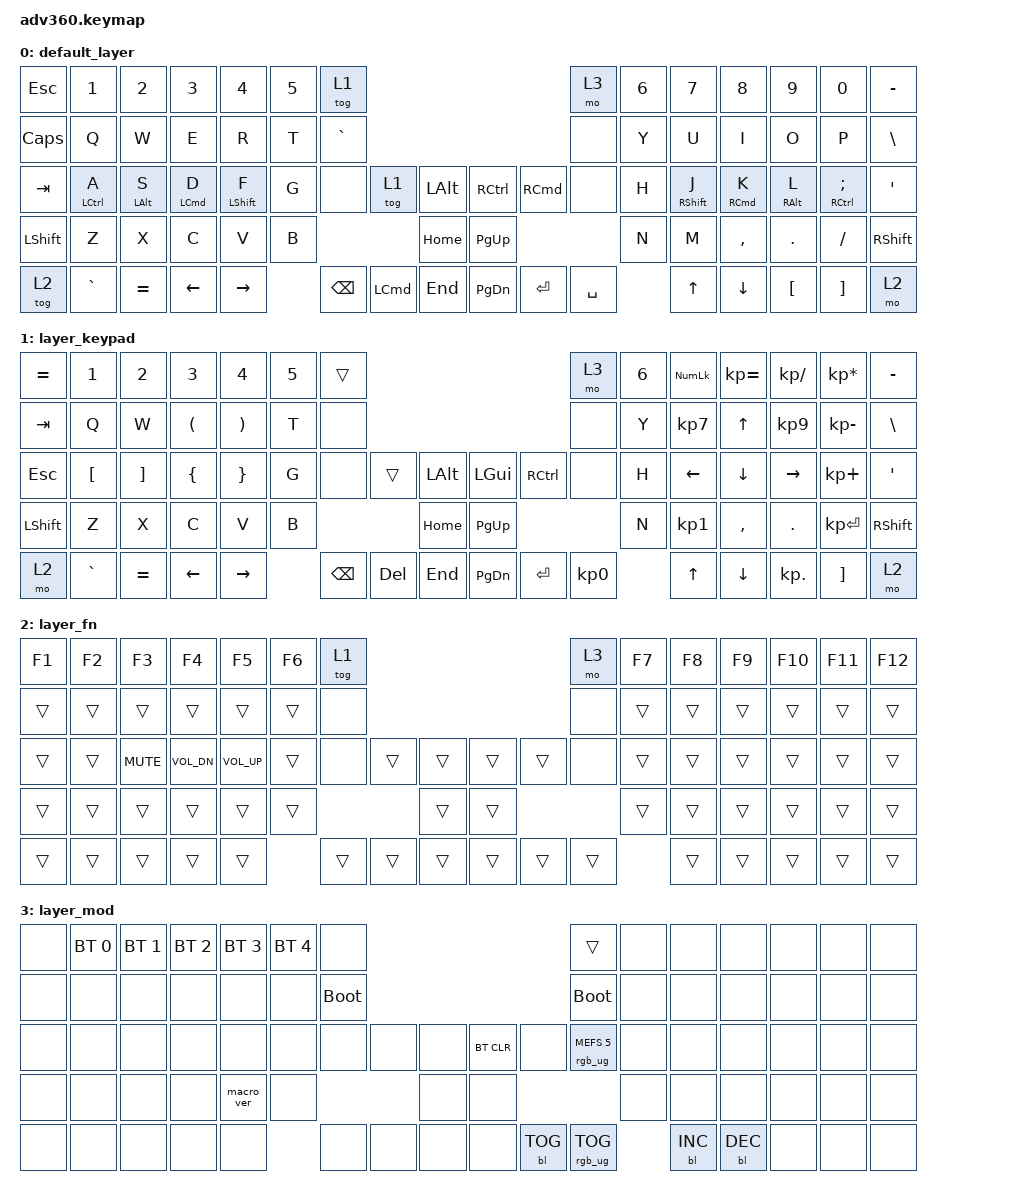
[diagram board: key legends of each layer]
/*
 * Copyright (c) 2020 The ZMK Contributors
 *
 * SPDX-License-Identifier: MIT
 */
/* THIS FILE WAS GENERATED!
 *
 * This file was generated automatically. You may or may not want to
 * edit it directly.
 */

#include <behaviors.dtsi>
#include <dt-bindings/zmk/backlight.h>
#include <dt-bindings/zmk/bt.h>
#include <dt-bindings/zmk/keys.h>
#include <dt-bindings/zmk/rgb.h>

/ {
    behaviors {
        #include "macros.dtsi"
    #include "version.dtsi"

        hm: homerow_mods {
            compatible = "zmk,behavior-hold-tap";
            label = "HOMEROW_MODS";
            #binding-cells = <2>;
            tapping-term-ms = <250>;
            quick_tap_ms = <175>;
            flavor = "tap-preferred";
            bindings = <&kp>, <&kp>;
        };
    };

    keymap {
        compatible = "zmk,keymap";

        default_layer {
            bindings = <
&kp ESCAPE    &kp N1       &kp N2      &kp N3      &kp N4            &kp N5  &tog 1                                                                   &mo 3      &kp N6  &kp N7             &kp N8      &kp N9      &kp N0               &kp MINUS
&kp CAPSLOCK  &kp Q        &kp W       &kp E       &kp R             &kp T   &kp GRAVE                                                                &none      &kp Y   &kp U              &kp I       &kp O       &kp P                &kp BSLH
&kp TAB       &hm LCTRL A  &hm LALT S  &hm LCMD D  &hm LEFT_SHIFT F  &kp G   &none      &tog 1            &kp LALT      &kp RIGHT_CONTROL  &kp RCMD   &none      &kp H   &hm RIGHT_SHIFT J  &hm RCMD K  &hm RALT L  &hm RCTRL SEMICOLON  &kp SQT
&kp LSHFT     &kp Z        &kp X       &kp C       &kp V             &kp B                                &kp HOME      &kp PG_UP                                &kp N   &kp M              &kp COMMA   &kp DOT     &kp FSLH             &kp RSHFT
&tog 2        &kp GRAVE    &kp EQUAL   &kp LEFT    &kp RIGHT                 &kp BSPC   &kp LEFT_COMMAND  &kp END       &kp PG_DN          &kp ENTER  &kp SPACE          &kp UP             &kp DOWN    &kp LBKT    &kp RBKT             &mo 2
            >;
        };

        layer_keypad {
            bindings = <
&kp EQUAL  &kp N1            &kp N2             &kp N3                &kp N4                 &kp N5  &trans                                                 &mo 3      &kp N6  &kp KP_NUM  &kp KP_EQUAL  &kp KP_DIVIDE  &kp KP_MULTIPLY  &kp MINUS
&kp TAB    &kp Q             &kp W              &kp LEFT_PARENTHESIS  &kp RIGHT_PARENTHESIS  &kp T   &none                                                  &none      &kp Y   &kp KP_N7   &kp UP_ARROW  &kp KP_N9      &kp KP_MINUS     &kp BSLH
&kp ESC    &kp LEFT_BRACKET  &kp RIGHT_BRACKET  &kp LEFT_BRACE        &kp RIGHT_BRACE        &kp G   &none     &trans   &kp LALT      &kp LGUI   &kp RCTRL  &none      &kp H   &kp LEFT    &kp DOWN      &kp RIGHT      &kp KP_PLUS      &kp SQT
&kp LSHFT  &kp Z             &kp X              &kp C                 &kp V                  &kp B                      &kp HOME      &kp PG_UP                        &kp N   &kp KP_N1   &kp COMMA     &kp PERIOD     &kp KP_ENTER     &kp RSHFT
&mo 2      &kp GRAVE         &kp EQUAL          &kp LEFT              &kp RIGHT                      &kp BSPC  &kp DEL  &kp END       &kp PG_DN  &kp ENTER  &kp KP_N0          &kp UP      &kp DOWN      &kp KP_DOT     &kp RBKT         &mo 2
            >;
        };

        layer_fn {
            bindings = <
&kp F1  &kp F2  &kp F3      &kp F4        &kp F5        &kp F6  &tog 1                                      &mo 3   &kp F7  &kp F8  &kp F9  &kp F10  &kp F11  &kp F12
&trans  &trans  &trans      &trans        &trans        &trans  &none                                       &none   &trans  &trans  &trans  &trans   &trans   &trans
&trans  &trans  &kp C_MUTE  &kp C_VOL_DN  &kp C_VOL_UP  &trans  &none   &trans  &trans      &trans  &trans  &none   &trans  &trans  &trans  &trans   &trans   &trans
&trans  &trans  &trans      &trans        &trans        &trans                  &trans      &trans                  &trans  &trans  &trans  &trans   &trans   &trans
&trans  &trans  &trans      &trans        &trans                &trans  &trans  &trans      &trans  &trans  &trans          &trans  &trans  &trans   &trans   &trans
            >;
        };

        layer_mod {
            bindings = <
&none  &bt BT_SEL 0  &bt BT_SEL 1  &bt BT_SEL 2  &bt BT_SEL 3  &bt BT_SEL 4  &none                                                  &trans                  &none  &none       &none       &none  &none  &none
&none  &none         &none         &none         &none         &none         &bootloader                                            &bootloader             &none  &none       &none       &none  &none  &none
&none  &none         &none         &none         &none         &none         &none        &none  &none      &bt BT_CLR  &none       &rgb_ug RGB_MEFS_CMD 5  &none  &none       &none       &none  &none  &none
&none  &none         &none         &none         &macro_ver    &none                             &none      &none                                           &none  &none       &none       &none  &none  &none
&none  &none         &none         &none         &none                       &none        &none  &none      &none       &bl BL_TOG  &rgb_ug RGB_TOG                &bl BL_INC  &bl BL_DEC  &none  &none  &none
            >;
        };
    };
};
